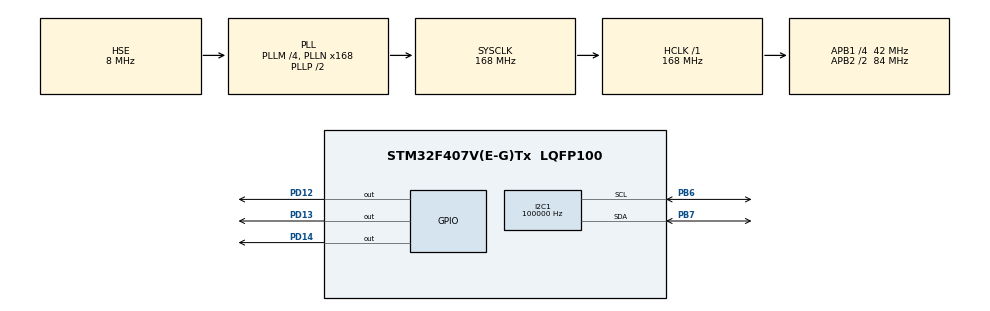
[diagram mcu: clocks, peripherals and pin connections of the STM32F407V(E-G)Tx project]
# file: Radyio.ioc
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I2C1.ClockSpeed=100000
Mcu.Family=STM32F4
Mcu.Name=STM32F407V(E-G)Tx
Mcu.Package=LQFP100
NVIC.PriorityGroup=NVIC_PRIORITYGROUP_4
PB6.Mode=I2C
PB6.Signal=I2C1_SCL
PB7.Mode=I2C
PB7.Signal=I2C1_SDA
PD12.Signal=GPIO_Output
PD13.Signal=GPIO_Output
PD14.Signal=GPIO_Output
PH0-OSC_IN.Mode=HSE-External-Oscillator
PH0-OSC_IN.Signal=RCC_OSC_IN
PH1-OSC_OUT.Mode=HSE-External-Oscillator
PH1-OSC_OUT.Signal=RCC_OSC_OUT
ProjectManager.HeapSize=0x200
ProjectManager.StackSize=0x400
ProjectManager.TargetToolchain=STM32CubeIDE
RCC.48MHZClocksFreq_Value=84000000
RCC.AHBFreq_Value=168000000
RCC.APB1CLKDivider=RCC_HCLK_DIV4
RCC.APB1Freq_Value=42000000
RCC.APB1TimFreq_Value=84000000
RCC.APB2CLKDivider=RCC_HCLK_DIV2
RCC.APB2Freq_Value=84000000
RCC.APB2TimFreq_Value=168000000
RCC.CortexFreq_Value=168000000
RCC.HCLKFreq_Value=168000000
RCC.HSE_VALUE=8000000
RCC.HSI_VALUE=16000000
RCC.LSE_VALUE=32768
RCC.PLLM=4
RCC.PLLN=168
RCC.PLLSourceVirtual=RCC_PLLSOURCE_HSE
RCC.SYSCLKFreq_VALUE=168000000
RCC.SYSCLKSource=RCC_SYSCLKSOURCE_PLLCLK
RCC.VCOOutputFreq_Value=336000000
board=custom

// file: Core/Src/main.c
/* USER CODE BEGIN Header */
/**
  ******************************************************************************
  * @file           : main.c
  * @brief          : Main program body
  ******************************************************************************
  * @attention
  *
  * <h2><center>&copy; Copyright (c) 2020 STMicroelectronics.
  * All rights reserved.</center></h2>
  *
  * This software component is licensed by ST under BSD 3-Clause license,
  * the "License"; You may not use this file except in compliance with the
  * License. You may obtain a copy of the License at:
  *                        opensource.org/licenses/BSD-3-Clause
  *
  ******************************************************************************
  */
/* USER CODE END Header */

#include "main.h"

/* USER CODE BEGIN Includes */
#include <string.h>
#include <stdio.h>
/* USER CODE END Includes */

I2C_HandleTypeDef hi2c1;

/* USER CODE BEGIN PV */
//static const uint8_t FM_ADDR = 0x10 << 1; // Adres 8-bitowy
//static const uint8_t FM_ADDR = 00100000;
//static const uint8_t FM_ADDR = 0x02 << 1;
//static const uint8_t FM_ADDR = 0x00 << 1; //poszczegolne proby polaczenia na podstawie roznych zrodel dostepnych w sieci
static const uint8_t FM_ADDR = 0x20;
static const uint8_t FM_Enablacja = 0x02 << 1;
static const uint8_t FM_TEST =0x00; //rejestr co powinien wypluc 0x58 w odpowiedzi
static const uint8_t REG_FM =0x58; //defaultowa wartosc chip ID
static const uint8_t wartosc_enablujaca = 1000000000000010; //binarnie: 1000000000000010 dziesietnie: 32770 ustawienie bitu zerowego w rejestrze 0x02 na 1 wlacza radyjko
/* USER CODE END PV */

void SystemClock_Config(void);
static void MX_GPIO_Init(void);
static void MX_I2C1_Init(void);

int main(void)
{
  /* USER CODE BEGIN 1 */
	  HAL_StatusTypeDef ret;
	  //uint8_t buf[128]={0,0,0,0,0,0,0,0,0,0,0,0,0,0,0,0,0,0,0,0,0,0,0,0,0,0,0,0,0,0,0,0,0,0,0,0,0,0,0,0,0,0,0,0,0,0,0,0,0,0,0,0,0,0,0,0,0,0,0,0,0,0,0,0,0,0,0,0,0,0,0,0,0,0,0,0,0,0,0,0,0,0,0,0,0,0,0,0,0,0,0,0,0,0,0,0,0,0,0,0,0,0,0,0,0,0,0,0,0,0,0,0,0,0,0,0,0,0,0,0,0,0,0,0,0,0,0,0};
	  uint8_t buf[128]={8,8,8,8,8,8,8,8,8,8,8,8,8,8,8,8,8,8,8,8,8,8,8,8,8,8,8,8,8,8,8,8,8,8,8,8,8,8,8,8,8,8,8,8,8,8,8,8,8,8,8,8,8,8,8,8,8,8,8,8,8,8,8,8,8,8,8,8,8,8,8,8,8,8,8,8,8,8,8,8,8,8,8,8,8,8,8,8,8,8,8,8,8,8,8,8,8,8,8,8,8,8,8,8,8,8,8,8,8,8,8,8,8,8,8,8,8,8,8,8,8,8,8,8,8,8,8,8};
	  uint8_t buf2[3];
	  int16_t val;
	  float temp_c;
  /* USER CODE END 1 */

  /* MCU Configuration--------------------------------------------------------*/

  /* Reset of all peripherals, Initializes the Flash interface and the Systick. */
  HAL_Init();

  /* Configure the system clock */
  SystemClock_Config();

  /* Initialize all configured peripherals */
  MX_GPIO_Init();
  MX_I2C1_Init();

  /* Infinite loop */
  /* USER CODE BEGIN WHILE */
  while (1)
  {
	  // Nawiazanie polaczenia z FM
	      //buf[0] = REG_FM;
	      /*ret = HAL_I2C_Master_Transmit(&hi2c1, FM_ADDR, buf, 1, HAL_MAX_DELAY);
	      if ( ret != HAL_OK ) {
	        strcpy((char*)buf, "Error Tx\r\n");
	      } else {

	      }*/
	      /*buf2[0] = FM_Enablacja; //adres rejestru
	      buf2[1] = wartosc_enablujaca >>8; //polowa informacji do przeslania
	      buf2[2] = wartosc_enablujaca; //druga polowa ustawien
	      	      ret = HAL_I2C_Master_Transmit(&hi2c1, FM_ADDR, buf2, 3, 100);
	      	      if ( ret != HAL_OK ) {
	      	        strcpy((char*)buf, "Error Tx\r\n");
	      	      } else {

	      }*/
	      	   //ret=HAL_I2C_Mem_Read(&hi2c1, FM_ADDR,FM_TEST,16, buf, 16, HAL_MAX_DELAY);
	  	  	  /*ret = HAL_I2C_Mem_Write(&hi2c1, 0x22, 0, 1, buf, 32, 1000);
	 	      		     if ( ret != HAL_OK ) {
	 	      		      	        strcpy((char*)buf, "Error Tx\r\n");
	 	      		     }
	 	      		  HAL_Delay(500);*/
	  	  	  ret = HAL_I2C_Mem_Read(&hi2c1, 0x22, 0, 1, buf, 30, 1000);
	      	  if ( ret != HAL_OK ) {
	      	 	        strcpy((char*)buf, "Error Tx\r\n");
	      	 	     } else {

	      	 	    	HAL_GPIO_TogglePin(GPIOD, GPIO_PIN_12);
	      	 	      }
	      	 HAL_Delay(500);
	      	  //buf[4]=11000000; //audio normal operation, mute normal operation, ustawienia ktore sa pozadane
	      	  buf[5]=3; // soft reset 1, enable 1

	      	   ret = HAL_I2C_Mem_Write(&hi2c1, 0x22, 0, 1, buf, 36, 1000);
	      		     if ( ret != HAL_OK ) {
	      		      	        strcpy((char*)buf, "Error Tx\r\n");
	      		     }

	 	  	  	  ret = HAL_I2C_Mem_Read(&hi2c1, 0x22, 0, 1, buf, 36, 1000);
	      		  	      	  if ( ret != HAL_OK ) {
	      		  	      	 	        strcpy((char*)buf, "Error Tx\r\n");
	      		  	      	 	     } else {

	      		  	      	 	    	HAL_GPIO_TogglePin(GPIOD, GPIO_PIN_12);
	      		  	      	 	      }
	      		  HAL_Delay(500);
	      		  	     	      	  //buf[4]=11000010; //audio normal operation, mute normal operation,seekup ustawienia ktore sa pozadane
	      		  	     	      	  buf[5]=1; // soft reset 0, enable 1

	      		  	     	      	   ret = HAL_I2C_Mem_Write(&hi2c1, 0x22, 0, 1, buf, 36, 1000);
	      		  	     	      		     if ( ret != HAL_OK ) {
	      		  	     	      		      	        strcpy((char*)buf, "Error Tx\r\n");
	      		  	     	      		     }
	      		   HAL_Delay(500);
	      		  	     	      buf[4]=194; //11000010 audio normal operation, mute normal operation,seekup ustawienia ktore sa pozadane
	      		  	     	      buf[5]=13; //00001101 soft reset 0, enable 1

	      		  	     	      ret = HAL_I2C_Mem_Write(&hi2c1, 0x22, 0, 1, buf, 36, 1000);
	      		  	     	      if ( ret != HAL_OK ) {
	      		  	     	      		    strcpy((char*)buf, "Error Tx\r\n");
	      		  	     	      }

	      // Wyslij bufor
	      //HAL_UART_Transmit(&huart2, buf, strlen((char*)buf), HAL_MAX_DELAY);

	      // Czekej
	      HAL_Delay(500);
    /* USER CODE END WHILE */

  }
}

void SystemClock_Config(void)
{
  RCC_OscInitTypeDef RCC_OscInitStruct = {0};
  RCC_ClkInitTypeDef RCC_ClkInitStruct = {0};

  /** Configure the main internal regulator output voltage
  */
  __HAL_RCC_PWR_CLK_ENABLE();
  __HAL_PWR_VOLTAGESCALING_CONFIG(PWR_REGULATOR_VOLTAGE_SCALE1);
  /** Initializes the CPU, AHB and APB busses clocks
  */
  RCC_OscInitStruct.OscillatorType = RCC_OSCILLATORTYPE_HSE;
  RCC_OscInitStruct.HSEState = RCC_HSE_ON;
  RCC_OscInitStruct.PLL.PLLState = RCC_PLL_ON;
  RCC_OscInitStruct.PLL.PLLSource = RCC_PLLSOURCE_HSE;
  RCC_OscInitStruct.PLL.PLLM = 4;
  RCC_OscInitStruct.PLL.PLLN = 168;
  RCC_OscInitStruct.PLL.PLLP = RCC_PLLP_DIV2;
  RCC_OscInitStruct.PLL.PLLQ = 4;
  if (HAL_RCC_OscConfig(&RCC_OscInitStruct) != HAL_OK)
  {
    Error_Handler();
  }
  /** Initializes the CPU, AHB and APB busses clocks
  */
  RCC_ClkInitStruct.ClockType = RCC_CLOCKTYPE_HCLK|RCC_CLOCKTYPE_SYSCLK
                              |RCC_CLOCKTYPE_PCLK1|RCC_CLOCKTYPE_PCLK2;
  RCC_ClkInitStruct.SYSCLKSource = RCC_SYSCLKSOURCE_PLLCLK;
  RCC_ClkInitStruct.AHBCLKDivider = RCC_SYSCLK_DIV1;
  RCC_ClkInitStruct.APB1CLKDivider = RCC_HCLK_DIV4;
  RCC_ClkInitStruct.APB2CLKDivider = RCC_HCLK_DIV2;

  if (HAL_RCC_ClockConfig(&RCC_ClkInitStruct, FLASH_LATENCY_5) != HAL_OK)
  {
    Error_Handler();
  }
}

static void MX_I2C1_Init(void)
{

  hi2c1.Instance = I2C1;
  hi2c1.Init.ClockSpeed = 100000;
  hi2c1.Init.DutyCycle = I2C_DUTYCYCLE_2;
  hi2c1.Init.OwnAddress1 = 0;
  hi2c1.Init.AddressingMode = I2C_ADDRESSINGMODE_7BIT;
  hi2c1.Init.DualAddressMode = I2C_DUALADDRESS_DISABLE;
  hi2c1.Init.OwnAddress2 = 0;
  hi2c1.Init.GeneralCallMode = I2C_GENERALCALL_DISABLE;
  hi2c1.Init.NoStretchMode = I2C_NOSTRETCH_DISABLE;
  if (HAL_I2C_Init(&hi2c1) != HAL_OK)
  {
    Error_Handler();
  }

}

static void MX_GPIO_Init(void)
{
  GPIO_InitTypeDef GPIO_InitStruct = {0};

  /* GPIO Ports Clock Enable */
  __HAL_RCC_GPIOH_CLK_ENABLE();
  __HAL_RCC_GPIOD_CLK_ENABLE();
  __HAL_RCC_GPIOB_CLK_ENABLE();

  /*Configure GPIO pin Output Level */
  HAL_GPIO_WritePin(GPIOD, GPIO_PIN_12|GPIO_PIN_13|GPIO_PIN_14, GPIO_PIN_RESET);

  /*Configure GPIO pins : PD12 PD13 PD14 */
  GPIO_InitStruct.Pin = GPIO_PIN_12|GPIO_PIN_13|GPIO_PIN_14;
  GPIO_InitStruct.Mode = GPIO_MODE_OUTPUT_PP;
  GPIO_InitStruct.Pull = GPIO_NOPULL;
  GPIO_InitStruct.Speed = GPIO_SPEED_FREQ_LOW;
  HAL_GPIO_Init(GPIOD, &GPIO_InitStruct);

}

void Error_Handler(void)
{
}

/************************ (C) COPYRIGHT STMicroelectronics *****END OF FILE****/
